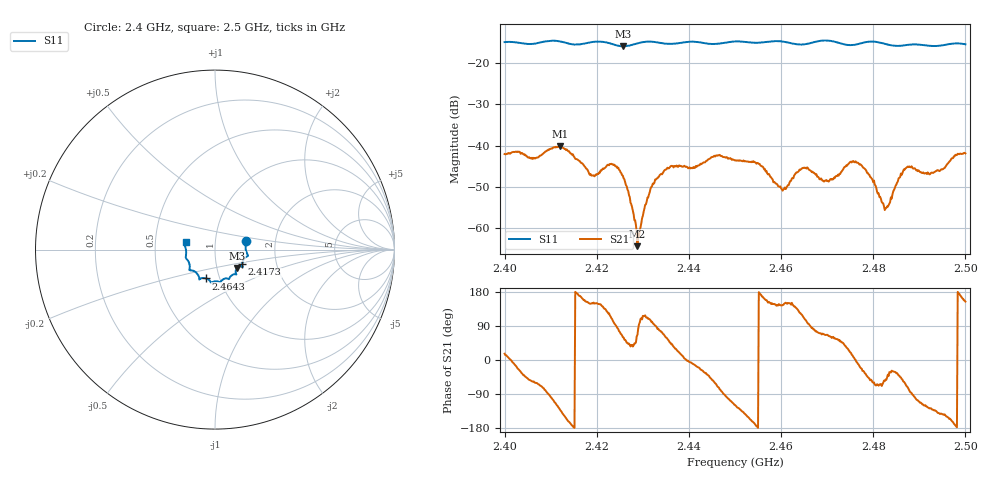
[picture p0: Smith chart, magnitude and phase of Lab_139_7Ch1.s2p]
# Hz S RI R 50
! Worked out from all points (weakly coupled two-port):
!   601 points, 2.4 GHz to 2.5 GHz, reference 50 ohm
!   highest |S21| = -40.21 dB at 2.412 GHz (marker M1); lowest = -64.4 dB at 2.4288 GHz (marker M2)
!   lowest |S11| = -15.9 dB at 2.4257 GHz (marker M3), VSWR 1.38, Z = 62.4 - j13.1 ohm
!   |S11| at or under -10 dB: start of sweep to end of sweep
!   S12 and S22 are empty: the file has one direction only
!   S11 on the Smith chart (normalised r, x): 2.4 GHz: 1.41, +0.14; 2.4173 GHz: 1.34, -0.23; 2.4643 GHz: 0.86, -0.28; 2.5 GHz: 0.72, +0.06
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2.4e9  0.1731 0.0492  0.00757 0.00227  0 0  0 0
2.4065e9  0.1723 -0.00448  0.00361 -0.0061  0 0  0 0
2.412e9  0.1797 -0.0372  -0.00638 -0.0074  0 0  0 0
2.416667e9  0.1527 -0.0743  -0.00595 0.00156  0 0  0 0
2.417333e9  0.152 -0.0817  -0.00521 0.0021  0 0  0 0
2.419333e9  0.1536 -0.0957  -0.00384 0.00208  0 0  0 0
2.423333e9  0.1428 -0.0937  -0.00183 0.00563  0 0  0 0
2.425667e9  0.1226 -0.1023  0.00216 0.00374  0 0  0 0
2.428833e9  0.1154 -0.1302  0.000239 0.000555  0 0  0 0
2.433333e9  0.1131 -0.137  0.000522 0.0041  0 0  0 0
2.445833e9  0.0491 -0.1639  0.00345 -0.00674  0 0  0 0
2.45e9  0.0295 -0.1808  -0.0032 -0.0058  0 0  0 0
2.455333e9  -0.00107 -0.1772  -0.00599 0.000375  0 0  0 0
2.4605e9  -0.0247 -0.1807  -0.00243 0.00167  0 0  0 0
2.464333e9  -0.0499 -0.1605  -0.0027 0.00441  0 0  0 0
2.466667e9  -0.0757 -0.1596  0.000485 0.00475  0 0  0 0
2.47e9  -0.0876 -0.1662  0.00148 0.00341  0 0  0 0
2.476667e9  -0.1231 -0.1173  0.00612 -0.00108  0 0  0 0
2.483333e9  -0.1407 -0.0899  0.0014 -0.00128  0 0  0 0
2.487167e9  -0.1561 -0.0552  0.00204 -0.00498  0 0  0 0
2.492667e9  -0.1607 -0.0178  -0.00299 -0.00365  0 0  0 0
2.5e9  -0.164 0.0422  -0.00726 0.00352  0 0  0 0
